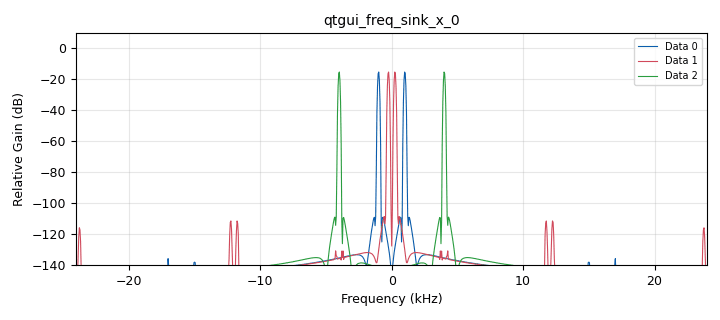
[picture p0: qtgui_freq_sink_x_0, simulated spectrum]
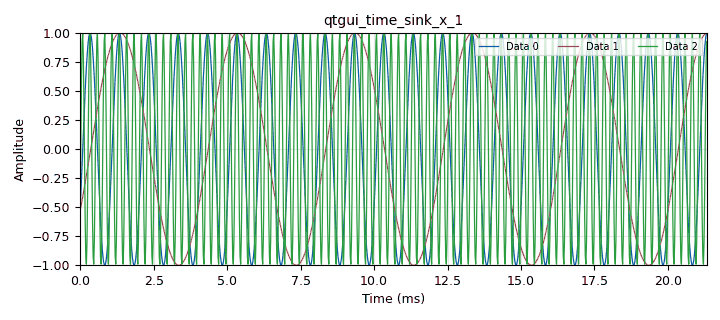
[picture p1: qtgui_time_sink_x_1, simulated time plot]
options:
  parameters:
    author: gnuradio
    generate_options: qt_gui
    id: ECE531_Lab1g
    output_language: python
    title: Not titled yet
  states: {}

blocks:
- name: samp_rate
  id: variable
  parameters:
    value: '48000'
  states: {}
- name: analog_sig_source_x_0
  id: analog_sig_source_x
  parameters:
    amp: '1'
    freq: '1000'
    offset: '0'
    phase: '0'
    samp_rate: samp_rate
    type: float
    waveform: analog.GR_COS_WAVE
  states: {}
- name: analog_sig_source_x_0_0
  id: analog_sig_source_x
  parameters:
    amp: '1'
    freq: '1000'
    offset: '0'
    phase: '0'
    samp_rate: samp_rate
    type: float
    waveform: analog.GR_COS_WAVE
  states: {}
- name: analog_sig_source_x_0_0_0
  id: analog_sig_source_x
  parameters:
    amp: '1'
    freq: '1000'
    offset: '0'
    phase: '0'
    samp_rate: samp_rate
    type: float
    waveform: analog.GR_COS_WAVE
  states: {}
- name: blocks_throttle_0
  id: blocks_throttle
  parameters:
    samples_per_second: samp_rate
    type: float
  states: {}
- name: qtgui_freq_sink_x_0
  id: qtgui_freq_sink_x
  parameters:
    bw: samp_rate
    fc: '0'
    fftsize: '1024'
    gui_hint: tabs@1
    label2: ''
    label3: ''
    nconnections: '3'
    showports: 'True'
    type: float
    wintype: firdes.WIN_BLACKMAN_hARRIS
  states: {}
- name: qtgui_time_sink_x_1
  id: qtgui_time_sink_x
  parameters:
    gui_hint: tabs@0
    label1: ''
    label2: ''
    label3: ''
    nconnections: '3'
    size: '1024'
    srate: samp_rate
    type: float
  states: {}
- name: rational_resampler_xxx_0
  id: rational_resampler_xxx
  parameters:
    decim: '1'
    interp: '4'
    taps: ''
    type: fff
  states: {}
- name: rational_resampler_xxx_0_0
  id: rational_resampler_xxx
  parameters:
    decim: '4'
    interp: '1'
    taps: ''
    type: fff
  states: {}
- name: rational_resampler_xxx_0_0_0
  id: rational_resampler_xxx
  parameters:
    decim: '1'
    interp: '1'
    taps: ''
    type: fff
  states: {}
- name: tabs
  id: qtgui_tab_widget
  parameters:
    label0: Time
    label1: Frequency
    num_tabs: '2'
  states: {}

connections:
- [analog_sig_source_x_0, '0', rational_resampler_xxx_0_0_0, '0']
- [analog_sig_source_x_0_0, '0', rational_resampler_xxx_0, '0']
- [analog_sig_source_x_0_0_0, '0', rational_resampler_xxx_0_0, '0']
- [blocks_throttle_0, '0', qtgui_freq_sink_x_0, '0']
- [blocks_throttle_0, '0', qtgui_time_sink_x_1, '0']
- [rational_resampler_xxx_0, '0', qtgui_freq_sink_x_0, '1']
- [rational_resampler_xxx_0, '0', qtgui_time_sink_x_1, '1']
- [rational_resampler_xxx_0_0, '0', qtgui_freq_sink_x_0, '2']
- [rational_resampler_xxx_0_0, '0', qtgui_time_sink_x_1, '2']
- [rational_resampler_xxx_0_0_0, '0', blocks_throttle_0, '0']

metadata:
  file_format: 1
